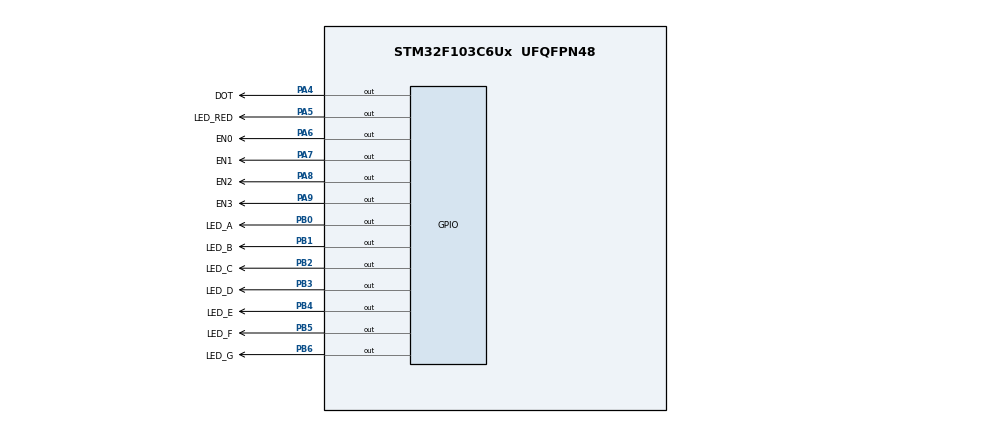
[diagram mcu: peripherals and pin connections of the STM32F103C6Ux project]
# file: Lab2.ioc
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Mcu.Family=STM32F1
Mcu.Name=STM32F103C6Ux
Mcu.Package=UFQFPN48
NVIC.PriorityGroup=NVIC_PRIORITYGROUP_4
NVIC.TIM2_IRQn=true\:0\:0\:false\:false\:true\:true\:true\:true
PA4.GPIO_Label=DOT
PA4.Signal=GPIO_Output
PA5.GPIO_Label=LED_RED
PA5.Signal=GPIO_Output
PA6.GPIO_Label=EN0
PA6.Signal=GPIO_Output
PA7.GPIO_Label=EN1
PA7.Signal=GPIO_Output
PA8.GPIO_Label=EN2
PA8.Signal=GPIO_Output
PA9.GPIO_Label=EN3
PA9.Signal=GPIO_Output
PB0.GPIO_Label=LED_A
PB0.Signal=GPIO_Output
PB1.GPIO_Label=LED_B
PB1.Signal=GPIO_Output
PB2.GPIO_Label=LED_C
PB2.Signal=GPIO_Output
PB3.GPIO_Label=LED_D
PB3.Signal=GPIO_Output
PB4.GPIO_Label=LED_E
PB4.Signal=GPIO_Output
PB5.GPIO_Label=LED_F
PB5.Signal=GPIO_Output
PB6.GPIO_Label=LED_G
PB6.Signal=GPIO_Output
ProjectManager.HeapSize=0x200
ProjectManager.StackSize=0x400
ProjectManager.TargetToolchain=STM32CubeIDE
RCC.APB1Freq_Value=8000000
RCC.APB2Freq_Value=8000000
TIM2.Period=9
TIM2.Prescaler=7999
VP_TIM2_VS_ClockSourceINT.Mode=Internal
board=custom

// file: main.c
/* USER CODE BEGIN Header */
/**
  ******************************************************************************
  * @file           : main.c
  * @brief          : Main program body
  ******************************************************************************
  * @attention
  *
  * Copyright (c) 2022 STMicroelectronics.
  * All rights reserved.
  *
  * This software is licensed under terms that can be found in the LICENSE file
  * in the root directory of this software component.
  * If no LICENSE file comes with this software, it is provided AS-IS.
  *
  ******************************************************************************
  */
/* USER CODE END Header */
#include "main.h"

TIM_HandleTypeDef htim2;

void SystemClock_Config(void);
static void MX_GPIO_Init(void);
static void MX_TIM2_Init(void);

int main(void)
{

  /* MCU Configuration--------------------------------------------------------*/

  /* Reset of all peripherals, Initializes the Flash interface and the Systick. */
  HAL_Init();

  /* Configure the system clock */
  SystemClock_Config();

  /* Initialize all configured peripherals */
  MX_GPIO_Init();
  MX_TIM2_Init();
  /* USER CODE BEGIN 2 */
  HAL_TIM_Base_Start_IT(&htim2);
  /* USER CODE END 2 */

  /* Infinite loop */
  while (1)
  {

  }
}

void SystemClock_Config(void)
{
  RCC_OscInitTypeDef RCC_OscInitStruct = {0};
  RCC_ClkInitTypeDef RCC_ClkInitStruct = {0};

  /** Initializes the RCC Oscillators according to the specified parameters
  * in the RCC_OscInitTypeDef structure.
  */
  RCC_OscInitStruct.OscillatorType = RCC_OSCILLATORTYPE_HSI;
  RCC_OscInitStruct.HSIState = RCC_HSI_ON;
  RCC_OscInitStruct.HSICalibrationValue = RCC_HSICALIBRATION_DEFAULT;
  RCC_OscInitStruct.PLL.PLLState = RCC_PLL_NONE;
  if (HAL_RCC_OscConfig(&RCC_OscInitStruct) != HAL_OK)
  {
    Error_Handler();
  }

  /** Initializes the CPU, AHB and APB buses clocks
  */
  RCC_ClkInitStruct.ClockType = RCC_CLOCKTYPE_HCLK|RCC_CLOCKTYPE_SYSCLK
                              |RCC_CLOCKTYPE_PCLK1|RCC_CLOCKTYPE_PCLK2;
  RCC_ClkInitStruct.SYSCLKSource = RCC_SYSCLKSOURCE_HSI;
  RCC_ClkInitStruct.AHBCLKDivider = RCC_SYSCLK_DIV1;
  RCC_ClkInitStruct.APB1CLKDivider = RCC_HCLK_DIV1;
  RCC_ClkInitStruct.APB2CLKDivider = RCC_HCLK_DIV1;

  if (HAL_RCC_ClockConfig(&RCC_ClkInitStruct, FLASH_LATENCY_0) != HAL_OK)
  {
    Error_Handler();
  }
}

static void MX_TIM2_Init(void)
{

  TIM_ClockConfigTypeDef sClockSourceConfig = {0};
  TIM_MasterConfigTypeDef sMasterConfig = {0};

  htim2.Instance = TIM2;
  htim2.Init.Prescaler = 7999;
  htim2.Init.CounterMode = TIM_COUNTERMODE_UP;
  htim2.Init.Period = 9;
  htim2.Init.ClockDivision = TIM_CLOCKDIVISION_DIV1;
  htim2.Init.AutoReloadPreload = TIM_AUTORELOAD_PRELOAD_DISABLE;
  if (HAL_TIM_Base_Init(&htim2) != HAL_OK)
  {
    Error_Handler();
  }
  sClockSourceConfig.ClockSource = TIM_CLOCKSOURCE_INTERNAL;
  if (HAL_TIM_ConfigClockSource(&htim2, &sClockSourceConfig) != HAL_OK)
  {
    Error_Handler();
  }
  sMasterConfig.MasterOutputTrigger = TIM_TRGO_RESET;
  sMasterConfig.MasterSlaveMode = TIM_MASTERSLAVEMODE_DISABLE;
  if (HAL_TIMEx_MasterConfigSynchronization(&htim2, &sMasterConfig) != HAL_OK)
  {
    Error_Handler();
  }

}

static void MX_GPIO_Init(void)
{
  GPIO_InitTypeDef GPIO_InitStruct = {0};

  /* GPIO Ports Clock Enable */
  __HAL_RCC_GPIOA_CLK_ENABLE();
  __HAL_RCC_GPIOB_CLK_ENABLE();

  /*Configure GPIO pin Output Level */
  HAL_GPIO_WritePin(GPIOA, DOT_Pin|LED_RED_Pin|EN0_Pin|EN1_Pin
                          |EN2_Pin|EN3_Pin, GPIO_PIN_RESET);

  /*Configure GPIO pin Output Level */
  HAL_GPIO_WritePin(GPIOB, LED_A_Pin|LED_B_Pin|LED_C_Pin|LED_D_Pin
                          |LED_E_Pin|LED_F_Pin|LED_G_Pin, GPIO_PIN_RESET);

  /*Configure GPIO pins : DOT_Pin LED_RED_Pin EN0_Pin EN1_Pin
                           EN2_Pin EN3_Pin */
  GPIO_InitStruct.Pin = DOT_Pin|LED_RED_Pin|EN0_Pin|EN1_Pin
                          |EN2_Pin|EN3_Pin;
  GPIO_InitStruct.Mode = GPIO_MODE_OUTPUT_PP;
  GPIO_InitStruct.Pull = GPIO_NOPULL;
  GPIO_InitStruct.Speed = GPIO_SPEED_FREQ_LOW;
  HAL_GPIO_Init(GPIOA, &GPIO_InitStruct);

  /*Configure GPIO pins : LED_A_Pin LED_B_Pin LED_C_Pin LED_D_Pin
                           LED_E_Pin LED_F_Pin LED_G_Pin */
  GPIO_InitStruct.Pin = LED_A_Pin|LED_B_Pin|LED_C_Pin|LED_D_Pin
                          |LED_E_Pin|LED_F_Pin|LED_G_Pin;
  GPIO_InitStruct.Mode = GPIO_MODE_OUTPUT_PP;
  GPIO_InitStruct.Pull = GPIO_NOPULL;
  GPIO_InitStruct.Speed = GPIO_SPEED_FREQ_LOW;
  HAL_GPIO_Init(GPIOB, &GPIO_InitStruct);

}

/* USER CODE BEGIN 4 */
void display7SEG(int num) {
	switch (num){
		case 0:
			HAL_GPIO_WritePin(LED_A_GPIO_Port, LED_A_Pin, RESET);
			HAL_GPIO_WritePin(LED_B_GPIO_Port, LED_B_Pin, RESET);
			HAL_GPIO_WritePin(LED_C_GPIO_Port, LED_C_Pin, RESET);
			HAL_GPIO_WritePin(LED_D_GPIO_Port, LED_D_Pin, RESET);
			HAL_GPIO_WritePin(LED_E_GPIO_Port, LED_E_Pin, RESET);
			HAL_GPIO_WritePin(LED_F_GPIO_Port, LED_F_Pin, RESET);
			HAL_GPIO_WritePin(LED_G_GPIO_Port, LED_G_Pin, SET);
			break;

		case 1:
			HAL_GPIO_WritePin(LED_A_GPIO_Port, LED_A_Pin, SET);
			HAL_GPIO_WritePin(LED_B_GPIO_Port, LED_B_Pin, RESET);
			HAL_GPIO_WritePin(LED_C_GPIO_Port, LED_C_Pin, RESET);
			HAL_GPIO_WritePin(LED_D_GPIO_Port, LED_D_Pin, SET);
			HAL_GPIO_WritePin(LED_E_GPIO_Port, LED_E_Pin, SET);
			HAL_GPIO_WritePin(LED_F_GPIO_Port, LED_F_Pin, SET);
			HAL_GPIO_WritePin(LED_G_GPIO_Port, LED_G_Pin, SET);
			break;

		case 2:
			HAL_GPIO_WritePin(LED_A_GPIO_Port, LED_A_Pin, RESET);
			HAL_GPIO_WritePin(LED_B_GPIO_Port, LED_B_Pin, RESET);
			HAL_GPIO_WritePin(LED_C_GPIO_Port, LED_C_Pin, SET);
			HAL_GPIO_WritePin(LED_D_GPIO_Port, LED_D_Pin, RESET);
			HAL_GPIO_WritePin(LED_E_GPIO_Port, LED_E_Pin, RESET);
			HAL_GPIO_WritePin(LED_F_GPIO_Port, LED_F_Pin, SET);
			HAL_GPIO_WritePin(LED_G_GPIO_Port, LED_G_Pin, RESET);
			break;

		case 3:
			HAL_GPIO_WritePin(LED_A_GPIO_Port, LED_A_Pin, RESET);
			HAL_GPIO_WritePin(LED_B_GPIO_Port, LED_B_Pin, RESET);
			HAL_GPIO_WritePin(LED_C_GPIO_Port, LED_C_Pin, RESET);
			HAL_GPIO_WritePin(LED_D_GPIO_Port, LED_D_Pin, RESET);
			HAL_GPIO_WritePin(LED_E_GPIO_Port, LED_E_Pin, SET);
			HAL_GPIO_WritePin(LED_F_GPIO_Port, LED_F_Pin, SET);
			HAL_GPIO_WritePin(LED_G_GPIO_Port, LED_G_Pin, RESET);
			break;

		case 4:
			HAL_GPIO_WritePin(LED_A_GPIO_Port, LED_A_Pin, SET);
			HAL_GPIO_WritePin(LED_B_GPIO_Port, LED_B_Pin, RESET);
			HAL_GPIO_WritePin(LED_C_GPIO_Port, LED_C_Pin, RESET);
			HAL_GPIO_WritePin(LED_D_GPIO_Port, LED_D_Pin, SET);
			HAL_GPIO_WritePin(LED_E_GPIO_Port, LED_E_Pin, SET);
			HAL_GPIO_WritePin(LED_F_GPIO_Port, LED_F_Pin, RESET);
			HAL_GPIO_WritePin(LED_G_GPIO_Port, LED_G_Pin, RESET);
			break;

		case 5:
			HAL_GPIO_WritePin(LED_A_GPIO_Port, LED_A_Pin, RESET);
			HAL_GPIO_WritePin(LED_B_GPIO_Port, LED_B_Pin, SET);
			HAL_GPIO_WritePin(LED_C_GPIO_Port, LED_C_Pin, RESET);
			HAL_GPIO_WritePin(LED_D_GPIO_Port, LED_D_Pin, RESET);
			HAL_GPIO_WritePin(LED_E_GPIO_Port, LED_E_Pin, SET);
			HAL_GPIO_WritePin(LED_F_GPIO_Port, LED_F_Pin, RESET);
			HAL_GPIO_WritePin(LED_G_GPIO_Port, LED_G_Pin, RESET);
			break;

		case 6:
			HAL_GPIO_WritePin(LED_A_GPIO_Port, LED_A_Pin, RESET);
			HAL_GPIO_WritePin(LED_B_GPIO_Port, LED_B_Pin, SET);
			HAL_GPIO_WritePin(LED_C_GPIO_Port, LED_C_Pin, RESET);
			HAL_GPIO_WritePin(LED_D_GPIO_Port, LED_D_Pin, RESET);
			HAL_GPIO_WritePin(LED_E_GPIO_Port, LED_E_Pin, RESET);
			HAL_GPIO_WritePin(LED_F_GPIO_Port, LED_F_Pin, RESET);
			HAL_GPIO_WritePin(LED_G_GPIO_Port, LED_G_Pin, RESET);
			break;

		case 7:
			HAL_GPIO_WritePin(LED_A_GPIO_Port, LED_A_Pin, RESET);
			HAL_GPIO_WritePin(LED_B_GPIO_Port, LED_B_Pin, RESET);
			HAL_GPIO_WritePin(LED_C_GPIO_Port, LED_C_Pin, RESET);
			HAL_GPIO_WritePin(LED_D_GPIO_Port, LED_D_Pin, SET);
			HAL_GPIO_WritePin(LED_E_GPIO_Port, LED_E_Pin, SET);
			HAL_GPIO_WritePin(LED_F_GPIO_Port, LED_F_Pin, SET);
			HAL_GPIO_WritePin(LED_G_GPIO_Port, LED_G_Pin, SET);
			break;

		case 8:
			HAL_GPIO_WritePin(LED_A_GPIO_Port, LED_A_Pin, RESET);
			HAL_GPIO_WritePin(LED_B_GPIO_Port, LED_B_Pin, RESET);
			HAL_GPIO_WritePin(LED_C_GPIO_Port, LED_C_Pin, RESET);
			HAL_GPIO_WritePin(LED_D_GPIO_Port, LED_D_Pin, RESET);
			HAL_GPIO_WritePin(LED_E_GPIO_Port, LED_E_Pin, RESET);
			HAL_GPIO_WritePin(LED_F_GPIO_Port, LED_F_Pin, RESET);
			HAL_GPIO_WritePin(LED_G_GPIO_Port, LED_G_Pin, RESET);
			break;

		case 9:
			HAL_GPIO_WritePin(LED_A_GPIO_Port, LED_A_Pin, RESET);
			HAL_GPIO_WritePin(LED_B_GPIO_Port, LED_B_Pin, RESET);
			HAL_GPIO_WritePin(LED_C_GPIO_Port, LED_C_Pin, RESET);
			HAL_GPIO_WritePin(LED_D_GPIO_Port, LED_D_Pin, RESET);
			HAL_GPIO_WritePin(LED_E_GPIO_Port, LED_E_Pin, SET);
			HAL_GPIO_WritePin(LED_F_GPIO_Port, LED_F_Pin, RESET);
			HAL_GPIO_WritePin(LED_G_GPIO_Port, LED_G_Pin, RESET);
			break;
	}
}
int counter = 50;
int select = 0;
int led_blink = 1;
void HAL_TIM_PeriodElapsedCallback ( TIM_HandleTypeDef * htim )
{
	led_blink--;
	if (led_blink == 0)
	{
		HAL_GPIO_TogglePin(DOT_GPIO_Port, DOT_Pin);
		led_blink = 100;
	}
	counter --;
	if (select == 0 && counter == 0)
	{
		display7SEG(1);
		HAL_GPIO_WritePin(EN0_GPIO_Port, EN0_Pin, GPIO_PIN_RESET);
		HAL_GPIO_WritePin(EN1_GPIO_Port, EN1_Pin, GPIO_PIN_SET);
		HAL_GPIO_WritePin(EN2_GPIO_Port, EN2_Pin, GPIO_PIN_SET);
		HAL_GPIO_WritePin(EN3_GPIO_Port, EN3_Pin, GPIO_PIN_SET);
		select = 1;
		counter = 50;
	}
	else if(select == 1 && counter ==0)
	{
		display7SEG(2);
		HAL_GPIO_WritePin(EN0_GPIO_Port, EN0_Pin, GPIO_PIN_SET);
		HAL_GPIO_WritePin(EN1_GPIO_Port, EN1_Pin, GPIO_PIN_RESET);
		HAL_GPIO_WritePin(EN2_GPIO_Port, EN2_Pin, GPIO_PIN_SET);
		HAL_GPIO_WritePin(EN3_GPIO_Port, EN3_Pin, GPIO_PIN_SET);
		select = 2;
		counter = 50;
	}
	else if(select == 2 && counter ==0)
	{
		display7SEG(3);
		HAL_GPIO_WritePin(EN0_GPIO_Port, EN0_Pin, GPIO_PIN_SET);
		HAL_GPIO_WritePin(EN1_GPIO_Port, EN1_Pin, GPIO_PIN_SET);
		HAL_GPIO_WritePin(EN2_GPIO_Port, EN2_Pin, GPIO_PIN_RESET);
		HAL_GPIO_WritePin(EN3_GPIO_Port, EN3_Pin, GPIO_PIN_SET);
		select = 3;
		counter = 50;
	}
	else if(select == 3 && counter ==0)
	{
		display7SEG(4);
		HAL_GPIO_WritePin(EN0_GPIO_Port, EN0_Pin, GPIO_PIN_SET);
		HAL_GPIO_WritePin(EN1_GPIO_Port, EN1_Pin, GPIO_PIN_SET);
		HAL_GPIO_WritePin(EN2_GPIO_Port, EN2_Pin, GPIO_PIN_SET);
		HAL_GPIO_WritePin(EN3_GPIO_Port, EN3_Pin, GPIO_PIN_RESET);
		select = 0;
		counter = 50;
	}

}
/* USER CODE END 4 */

void Error_Handler(void)
{
  __disable_irq();
  while (1)
  {
  }
}
